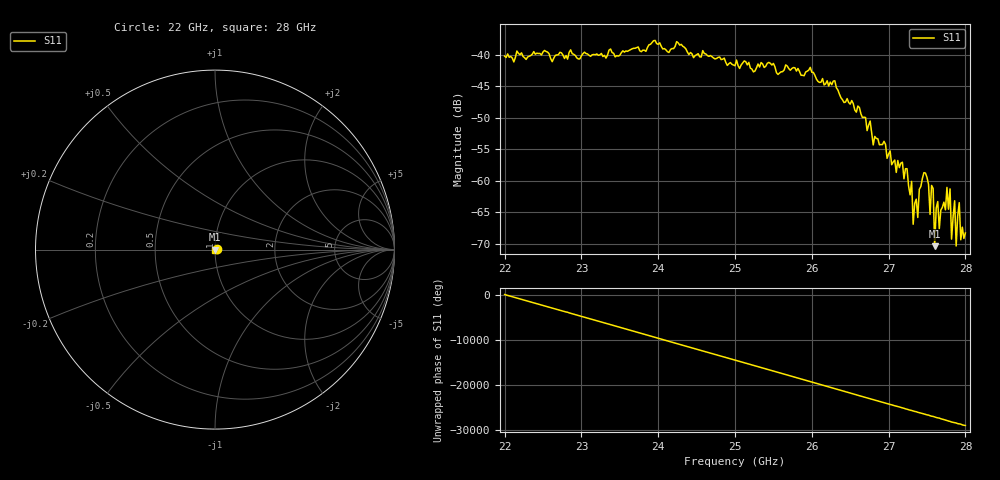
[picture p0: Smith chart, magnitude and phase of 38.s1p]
#  HZ  S  RI  R  50.00
! Rohde & Schwarz ZVA40 4Ports - Version 3.90 - 1145.1110k42 SN: 100403
! Date: 2023-10-04 07:32:09
! Measurement: S12
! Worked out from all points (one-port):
!   301 points, 22 GHz to 28 GHz, reference 50 ohm
!   lowest |S11| = -70.4 dB at 27.6 GHz (marker M1), VSWR 1.00, Z = 50 - j0.0301 ohm
!   |S11| at or under -10 dB: start of sweep to end of sweep
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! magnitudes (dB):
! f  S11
! 22 GHz  -40.2
! 22.76 GHz  -40.0
! 23.5 GHz  -40.1
! 24.26 GHz  -38.1
! 25 GHz  -41.7
! 25.76 GHz  -42.0
! 26.5 GHz  -47.8
! 27.26 GHz  -60.8
! 27.3 GHz  -60.1
! 27.32 GHz  -66.9
! 27.46 GHz  -58.7
! 27.52 GHz  -60.6
! 27.54 GHz  -65.3
! 27.56 GHz  -60.7
! 27.58 GHz  -61.2
! 27.6 GHz  -70.4
! 27.62 GHz  -64.3
! 27.64 GHz  -63.3
! 27.66 GHz  -67.6
! 27.76 GHz  -61.0
! 27.78 GHz  -64.5
! 27.8 GHz  -61.3
! 27.82 GHz  -69.2
! 27.86 GHz  -63.2
! 27.88 GHz  -70.3
! 27.92 GHz  -63.5
! 27.94 GHz  -69.4
! 28 GHz  -68.3
